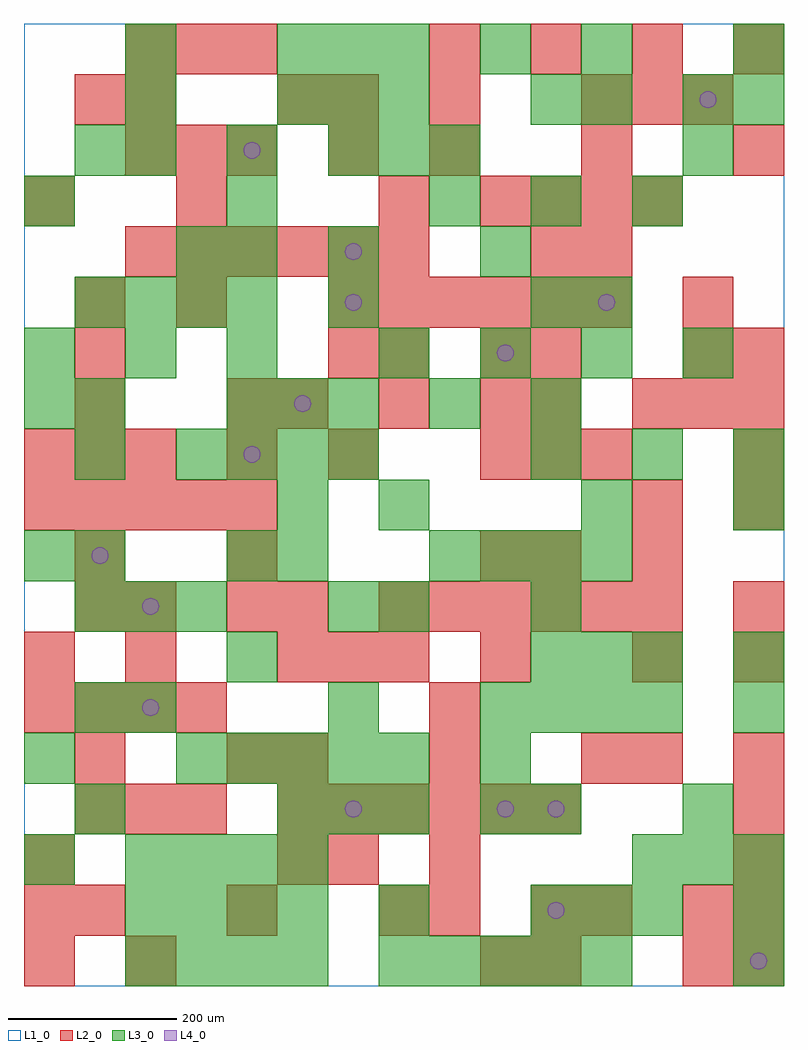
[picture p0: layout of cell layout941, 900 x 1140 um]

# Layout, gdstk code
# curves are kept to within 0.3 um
import gdstk
lib = gdstk.Library(unit=1e-6, precision=1e-09)
def R(c, l, rs):  # rectangles x0, y0, x1, y1
    for r in rs: c.add(gdstk.rectangle(r[:2], r[2:], *l))
def A(c, l, x, y, w, h, nx, ny, dx, dy):  # array of equal rectangles
    R(c, l, [(x+i*dx, y+j*dy, x+i*dx+w, y+j*dy+h) for i in range(nx) for j in range(ny)])
def P(c, l, *ps):  # polygons
    for p in ps: c.add(gdstk.Polygon(p, *l))
L1_0 = (1, 0)
L2_0 = (2, 0)
L3_0 = (3, 0)
L4_0 = (4, 0)

layout941 = lib.new_cell('layout941')
R(layout941, L1_0, [(0,0,900,1140)])
A(layout941, L2_0, 0, 0, 60, 60, 1, 3, 0, 60)
A(layout941, L2_0, 840, 0, 60, 60, 1, 5, 0, 60)
A(layout941, L2_0, 60, 60, 60, 60, 3, 1, 180, 0)
A(layout941, L2_0, 60, 180, 60, 60, 3, 1, 60, 0)
A(layout941, L2_0, 300, 180, 60, 60, 6, 1, 60, 0)
A(layout941, L2_0, 300, 240, 60, 60, 3, 1, 180, 0)
A(layout941, L2_0, 720, 240, 60, 60, 1, 3, 0, 120)
A(layout941, L2_0, 0, 300, 60, 60, 4, 1, 60, 0)
A(layout941, L2_0, 300, 360, 60, 60, 3, 1, 60, 0)
A(layout941, L2_0, 420, 420, 60, 60, 6, 1, 60, 0)
A(layout941, L2_0, 0, 540, 60, 60, 5, 1, 60, 0)
A(layout941, L2_0, 0, 600, 60, 60, 3, 1, 60, 0)
A(layout941, L2_0, 540, 600, 60, 60, 3, 1, 60, 0)
A(layout941, L2_0, 60, 660, 60, 60, 1, 3, 0, 60)
A(layout941, L2_0, 300, 660, 60, 60, 3, 1, 120, 0)
A(layout941, L2_0, 720, 660, 60, 60, 3, 1, 60, 0)
A(layout941, L2_0, 360, 780, 60, 60, 6, 1, 60, 0)
A(layout941, L2_0, 120, 840, 60, 60, 6, 1, 60, 0)
A(layout941, L2_0, 540, 900, 60, 60, 4, 1, 60, 0)
A(layout941, L2_0, 120, 960, 60, 60, 3, 2, 60, 120)
A(layout941, L2_0, 480, 960, 60, 60, 3, 1, 180, 0)
A(layout941, L2_0, 660, 1020, 60, 60, 3, 1, 60, 0)
A(layout941, L2_0, 480, 1080, 60, 60, 4, 1, 120, 0)
R(layout941, L2_0, [(120,0,180,60), (540,0,600,60), (600,0,660,60), (780,0,840,60), (480,60,540,120), (600,60,660,120), (660,60,720,120), (780,60,840,120), (300,120,360,180), (360,120,420,180), (480,120,540,180), (60,240,120,300), (240,240,300,300), (480,300,540,360), (0,360,60,420), (120,360,180,420), (540,360,600,420), (840,360,900,420), (60,420,120,480), (120,420,180,480), (240,420,300,480), (300,420,360,480), (840,420,900,480), (60,480,120,540), (240,480,300,540), (540,480,600,540), (600,480,660,540), (720,540,780,600), (840,540,900,600), (240,600,300,660), (360,600,420,660), (840,600,900,660), (240,660,300,720), (600,660,660,720), (360,720,420,780), (420,720,480,780), (540,720,600,780), (600,720,660,780), (780,720,840,780), (840,720,900,780), (180,780,240,840), (780,780,840,840), (600,840,660,900), (660,840,720,900), (0,900,60,960), (180,900,240,960), (420,900,480,960), (360,960,420,1020), (60,1020,120,1080), (120,1020,180,1080), (300,1020,360,1080), (360,1020,420,1080), (480,1020,540,1080)])
A(layout941, L3_0, 120, 0, 60, 60, 4, 3, 60, 60)
A(layout941, L3_0, 420, 0, 60, 60, 5, 1, 60, 0)
A(layout941, L3_0, 600, 60, 60, 60, 3, 2, 60, 300)
A(layout941, L3_0, 720, 120, 60, 60, 3, 1, 60, 0)
A(layout941, L3_0, 300, 180, 60, 60, 3, 2, 60, 840)
A(layout941, L3_0, 600, 180, 60, 60, 1, 3, 0, 240)
A(layout941, L3_0, 180, 240, 60, 60, 5, 1, 60, 0)
A(layout941, L3_0, 540, 300, 60, 60, 4, 1, 60, 0)
A(layout941, L3_0, 60, 420, 60, 60, 3, 1, 60, 0)
A(layout941, L3_0, 480, 480, 60, 60, 4, 1, 60, 0)
A(layout941, L3_0, 660, 540, 60, 60, 1, 3, 0, 240)
A(layout941, L3_0, 180, 600, 60, 60, 4, 1, 60, 0)
A(layout941, L3_0, 600, 600, 60, 60, 3, 1, 120, 0)
A(layout941, L3_0, 240, 660, 60, 60, 3, 1, 60, 0)
A(layout941, L3_0, 0, 720, 60, 60, 3, 1, 120, 0)
A(layout941, L3_0, 420, 720, 60, 60, 4, 1, 120, 0)
A(layout941, L3_0, 60, 780, 60, 60, 4, 1, 60, 0)
A(layout941, L3_0, 600, 780, 60, 60, 1, 3, 0, 120)
A(layout941, L3_0, 0, 900, 60, 60, 3, 1, 240, 0)
A(layout941, L3_0, 120, 960, 60, 60, 3, 1, 120, 0)
A(layout941, L3_0, 300, 1080, 60, 60, 3, 1, 60, 0)
R(layout941, L3_0, [(840,0,900,60), (420,60,480,120), (840,60,900,120), (0,120,60,180), (60,180,120,240), (540,180,600,240), (780,180,840,240), (0,240,60,300), (540,240,600,300), (60,300,120,360), (120,300,180,360), (360,300,420,360), (840,300,900,360), (240,360,300,420), (840,360,900,420), (360,420,420,480), (420,420,480,480), (0,480,60,540), (60,480,120,540), (240,480,300,540), (300,480,360,540), (300,540,360,600), (420,540,480,600), (840,540,900,600), (60,600,120,660), (0,660,60,720), (60,660,120,720), (480,660,540,720), (360,780,420,840), (180,840,240,900), (240,840,300,900), (360,840,420,900), (540,840,600,900), (720,900,780,960), (60,960,120,1020), (420,960,480,1020), (480,960,540,1020), (780,960,840,1020), (120,1020,180,1080), (780,1020,840,1080), (840,1020,900,1080), (120,1080,180,1140), (540,1080,600,1140), (660,1080,720,1140), (840,1080,900,1140)])
P(layout941, L4_0, [(100,510),(99.239,513.827),(97.071,517.071),(93.827,519.239),(90,520),(86.173,519.239),(82.929,517.071),(80.761,513.827),(80,510),(80.761,506.173),(82.929,502.929),(86.173,500.761),(90,500),(93.827,500.761),(97.071,502.929),(99.239,506.173)],
  [(160,330),(159.239,333.827),(157.071,337.071),(153.827,339.239),(150,340),(146.173,339.239),(142.929,337.071),(140.761,333.827),(140,330),(140.761,326.173),(142.929,322.929),(146.173,320.761),(150,320),(153.827,320.761),(157.071,322.929),(159.239,326.173)],
  [(160,450),(159.239,453.827),(157.071,457.071),(153.827,459.239),(150,460),(146.173,459.239),(142.929,457.071),(140.761,453.827),(140,450),(140.761,446.173),(142.929,442.929),(146.173,440.761),(150,440),(153.827,440.761),(157.071,442.929),(159.239,446.173)],
  [(280,630),(279.239,633.827),(277.071,637.071),(273.827,639.239),(270,640),(266.173,639.239),(262.929,637.071),(260.761,633.827),(260,630),(260.761,626.173),(262.929,622.929),(266.173,620.761),(270,620),(273.827,620.761),(277.071,622.929),(279.239,626.173)],
  [(280,990),(279.239,993.827),(277.071,997.071),(273.827,999.239),(270,1000),(266.173,999.239),(262.929,997.071),(260.761,993.827),(260,990),(260.761,986.173),(262.929,982.929),(266.173,980.761),(270,980),(273.827,980.761),(277.071,982.929),(279.239,986.173)],
  [(340,690),(339.239,693.827),(337.071,697.071),(333.827,699.239),(330,700),(326.173,699.239),(322.929,697.071),(320.761,693.827),(320,690),(320.761,686.173),(322.929,682.929),(326.173,680.761),(330,680),(333.827,680.761),(337.071,682.929),(339.239,686.173)],
  [(400,210),(399.239,213.827),(397.071,217.071),(393.827,219.239),(390,220),(386.173,219.239),(382.929,217.071),(380.761,213.827),(380,210),(380.761,206.173),(382.929,202.929),(386.173,200.761),(390,200),(393.827,200.761),(397.071,202.929),(399.239,206.173)],
  [(400,810),(399.239,813.827),(397.071,817.071),(393.827,819.239),(390,820),(386.173,819.239),(382.929,817.071),(380.761,813.827),(380,810),(380.761,806.173),(382.929,802.929),(386.173,800.761),(390,800),(393.827,800.761),(397.071,802.929),(399.239,806.173)],
  [(400,870),(399.239,873.827),(397.071,877.071),(393.827,879.239),(390,880),(386.173,879.239),(382.929,877.071),(380.761,873.827),(380,870),(380.761,866.173),(382.929,862.929),(386.173,860.761),(390,860),(393.827,860.761),(397.071,862.929),(399.239,866.173)],
  [(580,210),(579.239,213.827),(577.071,217.071),(573.827,219.239),(570,220),(566.173,219.239),(562.929,217.071),(560.761,213.827),(560,210),(560.761,206.173),(562.929,202.929),(566.173,200.761),(570,200),(573.827,200.761),(577.071,202.929),(579.239,206.173)],
  [(580,750),(579.239,753.827),(577.071,757.071),(573.827,759.239),(570,760),(566.173,759.239),(562.929,757.071),(560.761,753.827),(560,750),(560.761,746.173),(562.929,742.929),(566.173,740.761),(570,740),(573.827,740.761),(577.071,742.929),(579.239,746.173)],
  [(640,90),(639.239,93.827),(637.071,97.071),(633.827,99.239),(630,100),(626.173,99.239),(622.929,97.071),(620.761,93.827),(620,90),(620.761,86.173),(622.929,82.929),(626.173,80.761),(630,80),(633.827,80.761),(637.071,82.929),(639.239,86.173)],
  [(640,210),(639.239,213.827),(637.071,217.071),(633.827,219.239),(630,220),(626.173,219.239),(622.929,217.071),(620.761,213.827),(620,210),(620.761,206.173),(622.929,202.929),(626.173,200.761),(630,200),(633.827,200.761),(637.071,202.929),(639.239,206.173)],
  [(700,810),(699.239,813.827),(697.071,817.071),(693.827,819.239),(690,820),(686.173,819.239),(682.929,817.071),(680.761,813.827),(680,810),(680.761,806.173),(682.929,802.929),(686.173,800.761),(690,800),(693.827,800.761),(697.071,802.929),(699.239,806.173)],
  [(820,1050),(819.239,1053.827),(817.071,1057.071),(813.827,1059.239),(810,1060),(806.173,1059.239),(802.929,1057.071),(800.761,1053.827),(800,1050),(800.761,1046.173),(802.929,1042.929),(806.173,1040.761),(810,1040),(813.827,1040.761),(817.071,1042.929),(819.239,1046.173)],
  [(880,30),(879.239,33.827),(877.071,37.071),(873.827,39.239),(870,40),(866.173,39.239),(862.929,37.071),(860.761,33.827),(860,30),(860.761,26.173),(862.929,22.929),(866.173,20.761),(870,20),(873.827,20.761),(877.071,22.929),(879.239,26.173)])

lib.write_gds('layout941.gds')
